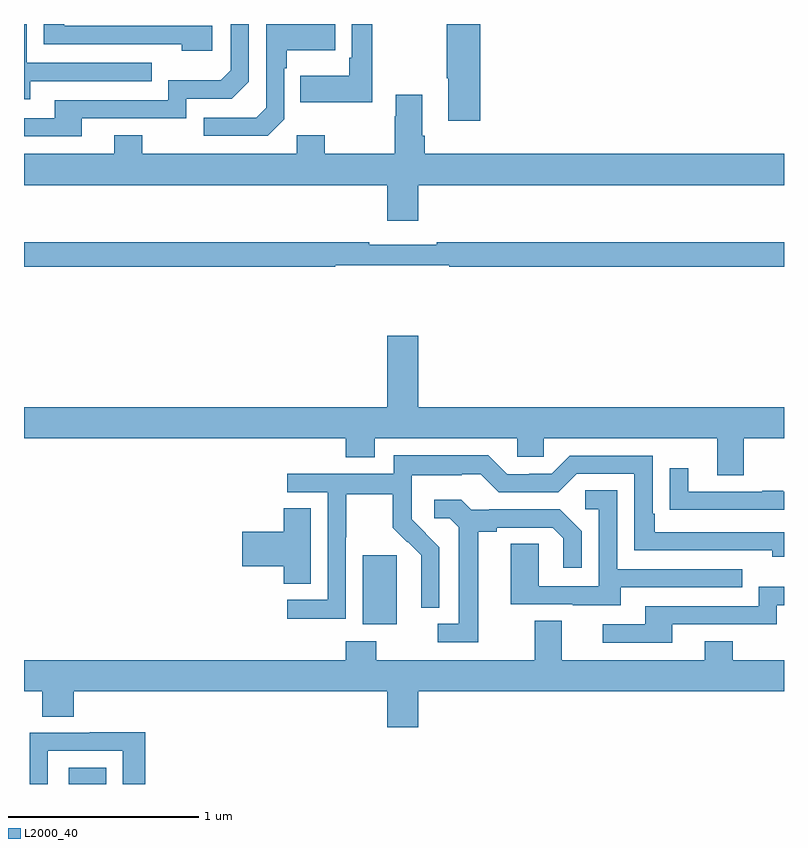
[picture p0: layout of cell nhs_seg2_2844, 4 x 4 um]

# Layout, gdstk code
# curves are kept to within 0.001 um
import gdstk
lib = gdstk.Library(unit=1e-6, precision=1e-09)
def R(c, l, rs):  # rectangles x0, y0, x1, y1
    for r in rs: c.add(gdstk.rectangle(r[:2], r[2:], *l))
def P(c, l, *ps):  # polygons
    for p in ps: c.add(gdstk.Polygon(p, *l))
L2000_40 = (2000, 40)

nhs_seg2_2844 = lib.new_cell('nhs_seg2_2844')
R(nhs_seg2_2844, L2000_40, [(259.235,661.8,259.432,661.885), (260.783,662.642,260.962,663.003)])
P(nhs_seg2_2844, L2000_40, [(261.401,665.8),(261.226,665.8),(261.226,665.515),(261.233,665.515),(261.233,665.292),(261.401,665.292)],
  [(259.033,665.499),(259.673,665.499),(259.673,665.595),(259.014,665.595),(259.014,665.8),(259,665.8),(259,665.405),(259.033,665.405)],
  [(260.833,665.8),(260.724,665.8),(260.724,665.623),(260.712,665.623),(260.712,665.527),(260.455,665.527),(260.455,665.387),(260.833,665.387)],
  [(259.303,665.304),(259.854,665.304),(259.854,665.406),(260.094,665.406),(260.184,665.496),(260.184,665.8),(260.088,665.8),(260.088,665.556),(260.035,665.503),(259.758,665.503),(259.758,665.4),(259.163,665.4),(259.163,665.304),(259,665.304),(259,665.208),(259.303,665.208)],
  [(260.37,665.298),(260.37,665.567),(260.383,665.567),(260.383,665.663),(260.639,665.663),(260.639,665.8),(260.274,665.8),(260.274,665.358),(260.223,665.307),(259.947,665.307),(259.947,665.211),(260.283,665.211)],
  [(259.99,665.79),(259.213,665.79),(259.213,665.8),(259.104,665.8),(259.104,665.694),(259.829,665.694),(259.829,665.66),(259.99,665.66)],
  [(261.076,664.952),(263,664.952),(263,665.116),(261.11,665.116),(261.11,665.212),(261.097,665.212),(261.097,665.428),(260.957,665.428),(260.957,665.315),(260.95,665.315),(260.95,665.116),(260.583,665.116),(260.583,665.215),(260.436,665.215),(260.436,665.116),(259.623,665.116),(259.623,665.215),(259.475,665.215),(259.475,665.116),(259,665.116),(259,664.952),(260.912,664.952),(260.912,664.764),(261.076,664.764)],
  [(260.638,664.53),(261.238,664.53),(261.238,664.522),(263,664.522),(263,664.651),(261.172,664.651),(261.172,664.638),(260.816,664.638),(260.816,664.651),(259,664.651),(259,664.522),(260.638,664.522)],
  [(262.789,663.62),(263,663.62),(263,663.784),(261.076,663.784),(261.076,664.159),(260.912,664.159),(260.912,663.784),(259,663.784),(259,663.62),(260.693,663.62),(260.693,663.521),(260.845,663.521),(260.845,663.62),(261.597,663.62),(261.597,663.522),(261.735,663.522),(261.735,663.62),(262.649,663.62),(262.649,663.426),(262.789,663.426)],
  [(260.694,663.1),(260.697,663.1),(260.697,663.324),(260.941,663.324),(260.941,663.149),(261.018,663.072),(261.021,663.075),(261.092,663.005),(261.092,662.882),(261.09,662.882),(261.09,662.728),(261.186,662.728),(261.186,663.046),(261.04,663.194),(261.04,663.291),(261.042,663.291),(261.042,663.425),(261.305,663.425),(261.305,663.429),(261.405,663.429),(261.498,663.336),(261.813,663.336),(261.909,663.432),(262.212,663.432),(262.212,663.03),(262.937,663.03),(262.937,662.996),(263,662.996),(263,663.126),(262.321,663.126),(262.321,663.223),(262.308,663.223),(262.308,663.528),(261.873,663.528),(261.777,663.432),(261.659,663.432),(261.659,663.429),(261.543,663.429),(261.443,663.529),(260.946,663.529),(260.946,663.432),(260.385,663.432),(260.385,663.336),(260.598,663.336),(260.598,662.769),(260.385,662.769),(260.385,662.671),(260.694,662.671)],
  [(263,663.339),(262.997,663.339),(262.997,663.344),(262.885,663.344),(262.885,663.339),(262.495,663.339),(262.495,663.463),(262.399,663.463),(262.399,663.244),(262.501,663.244),(262.501,663.243),(263,663.243)],
  [(262.141,662.835),(262.781,662.835),(262.781,662.931),(262.122,662.931),(262.122,663.347),(261.954,663.347),(261.954,663.246),(262.026,663.246),(262.026,662.841),(261.708,662.841),(261.708,663.065),(261.563,663.065),(261.563,662.745),(261.887,662.745),(261.887,662.741),(262.141,662.741)],
  [(261.391,663.128),(261.487,663.128),(261.487,663.15),(261.782,663.15),(261.839,663.093),(261.839,662.937),(261.936,662.937),(261.936,663.13),(261.82,663.246),(261.448,663.246),(261.448,663.243),(261.354,663.243),(261.302,663.295),(261.159,663.295),(261.159,663.198),(261.24,663.198),(261.287,663.151),(261.287,662.643),(261.177,662.643),(261.177,662.547),(261.391,662.547)],
  [(260.509,663.251),(260.366,663.251),(260.366,663.128),(260.148,663.128),(260.148,662.945),(260.366,662.945),(260.366,662.854),(260.509,662.854)],
  [(262.411,662.64),(262.962,662.64),(262.962,662.742),(263,662.742),(263,662.839),(262.866,662.839),(262.866,662.736),(262.271,662.736),(262.271,662.64),(262.047,662.64),(262.047,662.544),(262.411,662.544)],
  [(261.076,662.288),(263,662.288),(263,662.452),(262.731,662.452),(262.731,662.551),(262.583,662.551),(262.583,662.452),(261.829,662.452),(261.829,662.66),(261.689,662.66),(261.689,662.452),(260.853,662.452),(260.853,662.551),(260.693,662.551),(260.693,662.452),(259,662.452),(259,662.288),(259.097,662.288),(259.097,662.155),(259.262,662.155),(259.262,662.288),(260.912,662.288),(260.912,662.1),(261.076,662.1)],
  [(259.125,661.974),(259.521,661.974),(259.521,661.8),(259.637,661.8),(259.637,662.072),(259.345,662.072),(259.345,662.07),(259.029,662.07),(259.029,661.8),(259.125,661.8)])

lib.write_gds('nhs_seg2_2844.gds')
